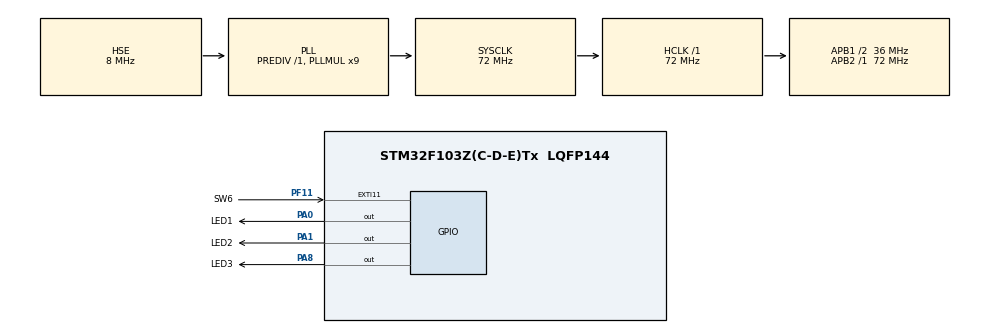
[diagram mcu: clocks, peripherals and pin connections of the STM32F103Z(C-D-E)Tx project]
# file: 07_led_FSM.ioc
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Mcu.Family=STM32F1
Mcu.Name=STM32F103Z(C-D-E)Tx
Mcu.Package=LQFP144
NVIC.EXTI15_10_IRQn=true\:0\:0\:false\:false\:true\:true\:true\:true
NVIC.PriorityGroup=NVIC_PRIORITYGROUP_4
OSC_IN.Mode=HSE-External-Oscillator
OSC_IN.Signal=RCC_OSC_IN
OSC_OUT.Mode=HSE-External-Oscillator
OSC_OUT.Signal=RCC_OSC_OUT
PA0-WKUP.GPIO_Label=LED1
PA0-WKUP.GPIO_ModeDefaultOutputPP=GPIO_MODE_OUTPUT_PP
PA0-WKUP.GPIO_Speed=GPIO_SPEED_FREQ_HIGH
PA0-WKUP.PinState=GPIO_PIN_SET
PA0-WKUP.Signal=GPIO_Output
PA1.GPIO_Label=LED2
PA1.GPIO_Speed=GPIO_SPEED_FREQ_HIGH
PA1.PinState=GPIO_PIN_SET
PA1.Signal=GPIO_Output
PA13.Mode=Serial_Wire
PA13.Signal=SYS_JTMS-SWDIO
PA14.Mode=Serial_Wire
PA14.Signal=SYS_JTCK-SWCLK
PA8.GPIO_Label=LED3
PA8.GPIO_Speed=GPIO_SPEED_FREQ_HIGH
PA8.PinState=GPIO_PIN_SET
PA8.Signal=GPIO_Output
PF11.GPIO_Label=SW6
PF11.GPIO_PuPd=GPIO_PULLDOWN
PF11.Signal=GPXTI11
ProjectManager.HeapSize=0x200
ProjectManager.StackSize=0x400
ProjectManager.TargetToolchain=MDK-ARM V5.32
RCC.AHBFreq_Value=72000000
RCC.APB1CLKDivider=RCC_HCLK_DIV2
RCC.APB1Freq_Value=36000000
RCC.APB1TimFreq_Value=72000000
RCC.APB2Freq_Value=72000000
RCC.APB2TimFreq_Value=72000000
RCC.HCLKFreq_Value=72000000
RCC.PLLMUL=RCC_PLL_MUL9
RCC.PLLSourceVirtual=RCC_PLLSOURCE_HSE
RCC.SYSCLKFreq_VALUE=72000000
RCC.SYSCLKSource=RCC_SYSCLKSOURCE_PLLCLK
RCC.USBFreq_Value=72000000
board=custom

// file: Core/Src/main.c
/* USER CODE BEGIN Header */
/**
  ******************************************************************************
  * @file           : main.c
  * @brief          : Main program body
  ******************************************************************************
  * @attention
  *
  * Copyright (c) 2026 STMicroelectronics.
  * All rights reserved.
  *
  * This software is licensed under terms that can be found in the LICENSE file
  * in the root directory of this software component.
  * If no LICENSE file comes with this software, it is provided AS-IS.
  *
  ******************************************************************************
  */
/* USER CODE END Header */
#include "main.h"
#include "gpio.h"

/* USER CODE BEGIN Includes */
#include "led.h"
#include "stm32f1xx_it.h"
/* USER CODE END Includes */

void SystemClock_Config(void);

int main(void)
{

  /* MCU Configuration--------------------------------------------------------*/

  /* Reset of all peripherals, Initializes the Flash interface and the Systick. */
  HAL_Init();

  /* Configure the system clock */
  SystemClock_Config();

  /* Initialize all configured peripherals */
  MX_GPIO_Init();

  /* Infinite loop */
  /* USER CODE BEGIN WHILE */
  while (1)
  {
    switch (led_state) {
      case LED1:
        LED_Off();
        LED_Reset(LED1_Pin);
        break;
      case LED2:
        LED_Off();
        LED_Reset(LED2_Pin);
        break;
      case LED3:
        LED_Off();
        LED_Reset(LED3_Pin);
        break;
      case initial_state:
        LED_Off();
        break;
      default:
        led_state = LED1; // Reset to first state if out of range
        break;
    }
    /* USER CODE END WHILE */

  }
}

void SystemClock_Config(void)
{
  RCC_OscInitTypeDef RCC_OscInitStruct = {0};
  RCC_ClkInitTypeDef RCC_ClkInitStruct = {0};

  /** Initializes the RCC Oscillators according to the specified parameters
  * in the RCC_OscInitTypeDef structure.
  */
  RCC_OscInitStruct.OscillatorType = RCC_OSCILLATORTYPE_HSE;
  RCC_OscInitStruct.HSEState = RCC_HSE_ON;
  RCC_OscInitStruct.HSEPredivValue = RCC_HSE_PREDIV_DIV1;
  RCC_OscInitStruct.HSIState = RCC_HSI_ON;
  RCC_OscInitStruct.PLL.PLLState = RCC_PLL_ON;
  RCC_OscInitStruct.PLL.PLLSource = RCC_PLLSOURCE_HSE;
  RCC_OscInitStruct.PLL.PLLMUL = RCC_PLL_MUL9;
  if (HAL_RCC_OscConfig(&RCC_OscInitStruct) != HAL_OK)
  {
    Error_Handler();
  }

  /** Initializes the CPU, AHB and APB buses clocks
  */
  RCC_ClkInitStruct.ClockType = RCC_CLOCKTYPE_HCLK|RCC_CLOCKTYPE_SYSCLK
                              |RCC_CLOCKTYPE_PCLK1|RCC_CLOCKTYPE_PCLK2;
  RCC_ClkInitStruct.SYSCLKSource = RCC_SYSCLKSOURCE_PLLCLK;
  RCC_ClkInitStruct.AHBCLKDivider = RCC_SYSCLK_DIV1;
  RCC_ClkInitStruct.APB1CLKDivider = RCC_HCLK_DIV2;
  RCC_ClkInitStruct.APB2CLKDivider = RCC_HCLK_DIV1;

  if (HAL_RCC_ClockConfig(&RCC_ClkInitStruct, FLASH_LATENCY_2) != HAL_OK)
  {
    Error_Handler();
  }
}

void Error_Handler(void)
{
  __disable_irq();
  while (1)
  {
  }
}
